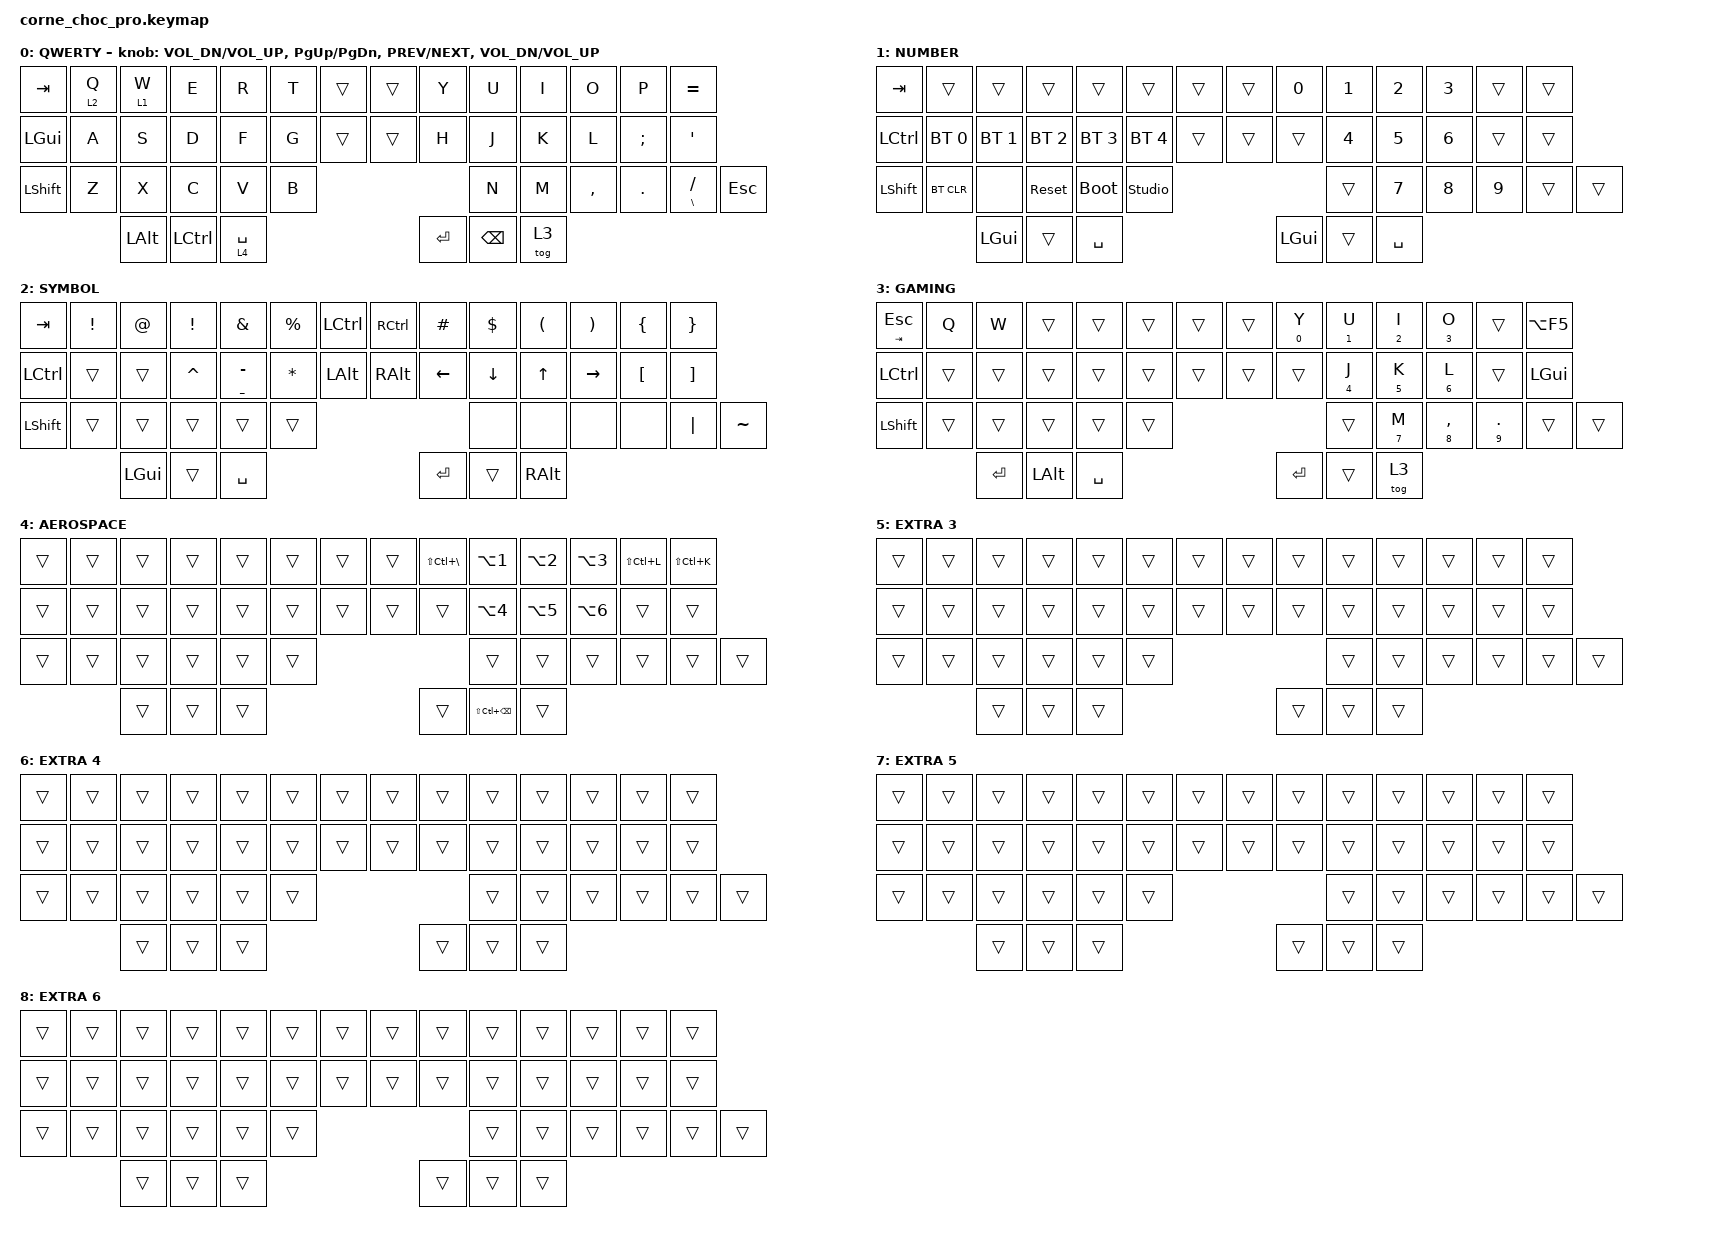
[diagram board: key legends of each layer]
/*
 * Copyright (c) 2020 The ZMK Contributors
 *
 * SPDX-License-Identifier: MIT
 */

#include <behaviors.dtsi>
#include <dt-bindings/zmk/keys.h>
#include <dt-bindings/zmk/bt.h>
#include <dt-bindings/zmk/rgb.h>

/*
 * Tap-preferred hold-taps: a quick tap stays a tap even when the next key is
 * pressed, so fast typing does not turn letters into their held (number) value.
 * Holding past tapping-term-ms still triggers the hold behavior.
 */
&mt {
    flavor = "tap-preferred";
};

/ {
    chosen {
        zmk,physical-layout = &default_layout;
    };
};

/ {
    keymap {
        compatible = "zmk,keymap";

        default_layer {
            display-name = "QWERTY";
            // --------------------------------------------------------------------------------
            // |  TAB |  Q  |  W  |  E  |  R  |  T  |  MUTE |  PP   |  Y  |  U   |  I  |  O  |  P  | BSPC |
            // | CTRL |  A  |  S  |  D  |  F  |  G  |  LALT |  RALT |  H  |  J   |  K  |  L  |  ;  |  '   |
            // | SHFT |  Z  |  X  |  C  |  V  |  B  |               |  N  |  M   |  ,  |  .  |  /  | ESC  |
            //                    | GUI | LWR | SPC |               | ENT | RSE  | ALT |
            bindings = <
                &kp TAB   &lt 2 Q &lt 1 W &kp E &kp R &kp T &trans &trans   &kp Y &kp U  &kp I     &kp O   &kp P    &kp EQUAL
                &kp LGUI  &kp A &kp S &kp D &kp F &kp G &trans     &trans   &kp H &kp J  &kp K     &kp L   &kp SEMI &kp SQT
                &kp LSHFT &kp Z &kp X &kp C &kp V &kp B                     &kp N &kp M  &kp COMMA &kp DOT &mt BSLH FSLH &kp ESC
                                      &kp LALT &kp LCTRL &lt 4 SPACE        &kp RET &kp BSPC &tog 3
            >;
            sensor-bindings = <&inc_dec_kp C_VOL_DN C_VOL_UP &inc_dec_kp PG_UP PG_DN &inc_dec_kp C_PREV C_NEXT &inc_dec_kp C_VOL_DN C_VOL_UP>;
        };

        lower_layer {
            display-name = "NUMBER";
            // -----------------------------------------------------------------------------------------
            // |  TAB |  1  |  2  |  3  |  4  |  5    |  LCTRL | RCTRL |  6  |  7  |  8  |  9  |  0  | BSPC |
            // | CTRL | BT1 | BT2 | BT3 | BT4 | BT5   |  LALT  | RALT  | LFT | DWN |  UP | RGT |     |      |
            // | SHFT | BTCR| RGB | RST | BOOT| Unlock|        |       |     |     |     |     |     |      |
            //                    | GUI |     | SPC   |        | ENT   |     | ALT |
            bindings = <
                &kp TAB   &trans       &trans          &trans       &trans       &trans       &trans    &trans    &kp N0   &kp N1   &kp N2 &kp N3    &trans &trans
                &kp LCTRL &bt BT_SEL 0 &bt BT_SEL 1    &bt BT_SEL 2 &bt BT_SEL 3 &bt BT_SEL 4 &trans    &trans    &trans   &kp N4   &kp N5 &kp N6    &trans &trans
                &kp LSHFT &bt BT_CLR   &none           &sys_reset   &bootloader  &studio_unlock                   &trans   &kp N7   &kp N8 &kp N9    &trans &trans
                                                       &kp LGUI     &trans       &kp SPACE                        &kp LGUI &trans   &kp SPACE
            >;
        };

        raise_layer {
            display-name = "SYMBOL";
            // -----------------------------------------------------------------------------------------
            // |  TAB |  !  |  @  |  #  |  $  |  %  | LCTRL | RCTRL |  ^  |  &  |  *  |  (  |  )  | BSPC |
            // | CTRL | HUD | HUI |     |     |     |  LALT | RALT  |  -  |  =  |  [  |  ]  |  \  |  `   |
            // | SHFT |     |     |     |     |     |               |  _  |  +  |  {  |  }  | "|" |  ~   |
            //                    | GUI |     | SPC |               | ENT |     | ALT |
            bindings = <
                &kp TAB   &kp EXCL        &kp AT          &kp EXCL &kp AMPS &kp PRCNT &kp LCTRL &kp RCTRL &kp HASH  &kp DLLR  &kp LPAR  &kp RPAR &kp LBRC &kp RBRC
                &kp LCTRL &trans          &trans          &kp CARET &mt UNDER MINUS &kp ASTRK &kp LALT &kp RALT &kp LEFT &kp DOWN &kp UP &kp RIGHT &kp LBKT &kp RBKT
                &kp LSHFT &trans          &trans          &trans   &trans   &trans                        &none     &none     &none     &none    &kp PIPE &kp TILDE
                                                          &kp LGUI &trans   &kp SPACE                     &kp RET   &trans    &kp RALT
            >;
        };

        extra_layer_1 {
            display-name = "GAMING";
            bindings = <
                &mt TAB ESC &kp Q &kp W &trans &trans &trans &trans &trans &mt N0 Y &mt N1 U &mt N2 I &mt N3 O &trans &kp LA(F5)
                &kp LCTRL &trans &trans &trans &trans &trans &trans &trans &trans &mt N4 J &mt N5 K &mt N6 L &trans &kp LGUI
                &kp LSHFT &trans &trans &trans &trans &trans            &trans &mt N7 M &mt N8 COMMA &mt N9 DOT &trans &trans
                                     &kp RET &kp LALT &kp SPACE         &kp RET &trans &tog 3
            >;
        };

        extra_layer_2 {
            display-name = "AEROSPACE";
            bindings = <
                &trans &trans &trans &trans &trans &trans &trans &trans &kp LS(LC(BSLH)) &kp LA(N1) &kp LA(N2) &kp LA(N3) &kp LS(LC(L)) &kp LS(LC(K))
                &trans &trans &trans &trans &trans &trans &trans &trans &trans &kp LA(N4) &kp LA(N5) &kp LA(N6) &trans &trans
                &trans &trans &trans &trans &trans &trans               &trans &trans &trans &trans &trans &trans
                                     &trans &trans &trans               &trans &kp LS(LC(BSPC)) &trans
            >;
        };

        extra_layer_3 {
            display-name = "EXTRA 3";
            bindings = <
                &trans &trans &trans &trans &trans &trans &trans &trans &trans &trans &trans &trans &trans &trans
                &trans &trans &trans &trans &trans &trans &trans &trans &trans &trans &trans &trans &trans &trans
                &trans &trans &trans &trans &trans &trans               &trans &trans &trans &trans &trans &trans
                                     &trans &trans &trans               &trans &trans &trans
            >;
        };

        extra_layer_4 {
            display-name = "EXTRA 4";
            bindings = <
                &trans &trans &trans &trans &trans &trans &trans &trans &trans &trans &trans &trans &trans &trans
                &trans &trans &trans &trans &trans &trans &trans &trans &trans &trans &trans &trans &trans &trans
                &trans &trans &trans &trans &trans &trans               &trans &trans &trans &trans &trans &trans
                                     &trans &trans &trans               &trans &trans &trans
            >;
        };

        extra_layer_5 {
            display-name = "EXTRA 5";
            bindings = <
                &trans &trans &trans &trans &trans &trans &trans &trans &trans &trans &trans &trans &trans &trans
                &trans &trans &trans &trans &trans &trans &trans &trans &trans &trans &trans &trans &trans &trans
                &trans &trans &trans &trans &trans &trans               &trans &trans &trans &trans &trans &trans
                                     &trans &trans &trans               &trans &trans &trans
            >;
        };

        extra_layer_6 {
            display-name = "EXTRA 6";
            bindings = <
                &trans &trans &trans &trans &trans &trans &trans &trans &trans &trans &trans &trans &trans &trans
                &trans &trans &trans &trans &trans &trans &trans &trans &trans &trans &trans &trans &trans &trans
                &trans &trans &trans &trans &trans &trans               &trans &trans &trans &trans &trans &trans
                                     &trans &trans &trans               &trans &trans &trans
            >;
        };
    };
};
